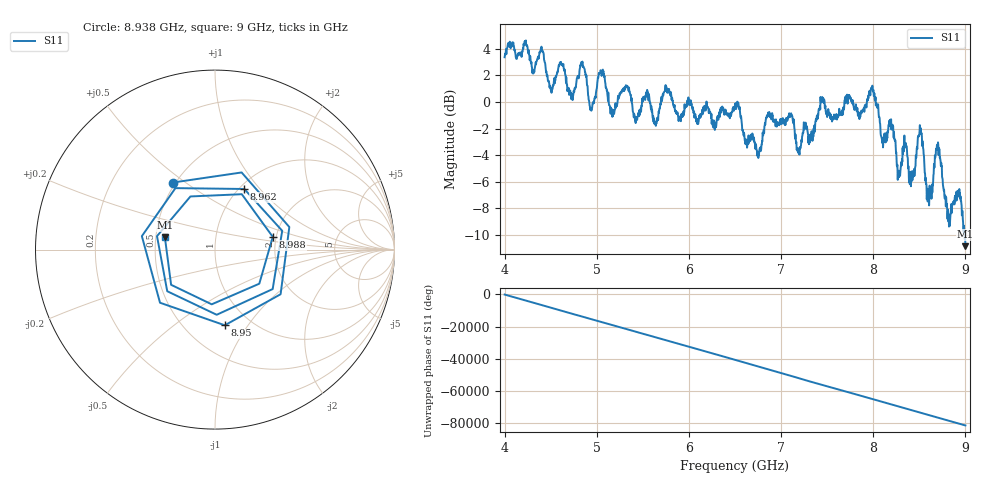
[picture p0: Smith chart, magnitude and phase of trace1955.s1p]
! Created with skrf 1.8.0 (http://scikit-rf.org).
# Hz S RI R 50.0
!freq ReS11 ImS11
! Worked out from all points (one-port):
!   1601 points, 4 GHz to 9 GHz, reference 50 ohm
!   lowest |S11| = -10.8 dB at 9 GHz (marker M1), VSWR 1.81, Z = 28 + j4.15 ohm
!   |S11| at or under -10 dB: 8.990197 GHz to end of sweep
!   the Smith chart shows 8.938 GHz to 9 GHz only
!   S11 on the Smith chart (normalised r, x): 8.938 GHz: 0.48, +0.45; 8.95 GHz: 0.76, -0.79; 8.962 GHz: 1.06, +0.83; 8.988 GHz: 1.92, +0.31; 9 GHz: 0.56, +0.08
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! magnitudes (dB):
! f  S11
! 4 GHz  3.3
! 4.625 GHz  2.8
! 4.722 GHz  0.6
! 4.847 GHz  2.9
! 4.938 GHz  -0.6
! 5.047 GHz  2.2
! 5.162 GHz  -0.9
! 5.25 GHz  0.6
! 5.875 GHz  -0.8
! 6.5 GHz  -0.1
! 6.756 GHz  -3.8
! 6.862 GHz  -0.9
! 7.125 GHz  -1.3
! 7.194 GHz  -3.5
! 7.447 GHz  0.4
! 7.75 GHz  0.2
! 7.988 GHz  1.0
! 8.103 GHz  -2.7
! 8.375 GHz  -4.2
! 8.509 GHz  -2.4
! 8.606 GHz  -7.8
! 8.694 GHz  -3.2
! 8.812 GHz  -8.1
! 8.938 GHz  -7.1
! 8.95 GHz  -7.4
! 8.962 GHz  -8.5
! 8.988 GHz  -9.6
! 9 GHz  -10.8
